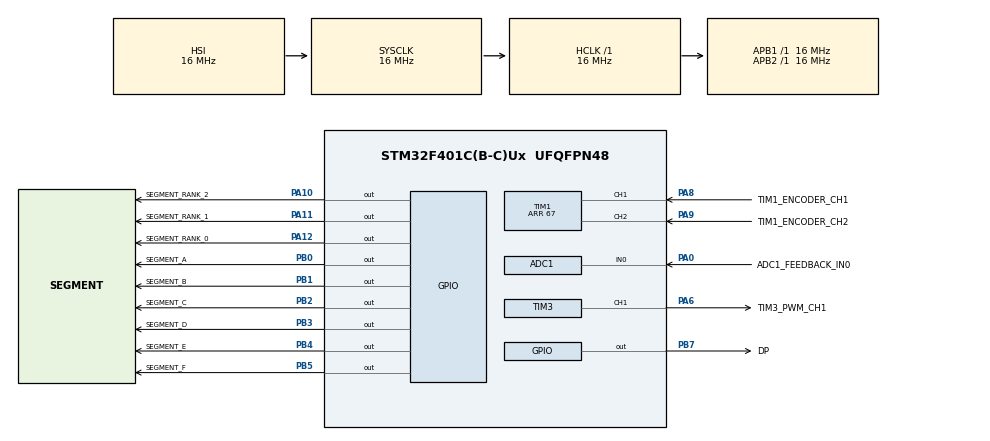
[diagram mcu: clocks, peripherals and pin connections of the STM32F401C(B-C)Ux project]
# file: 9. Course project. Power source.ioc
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ADC1.Channel-0\#ChannelRegularConversion=ADC_CHANNEL_0
ADC1.ExternalTrigConv=ADC_EXTERNALTRIGCONV_T3_TRGO
ADC1.NbrOfConversionFlag=1
ADC1.Rank-0\#ChannelRegularConversion=1
ADC1.SamplingTime-0\#ChannelRegularConversion=ADC_SAMPLETIME_3CYCLES
ADC1.master=1
Mcu.Family=STM32F4
Mcu.Name=STM32F401C(B-C)Ux
Mcu.Package=UFQFPN48
NVIC.ADC_IRQn=true\:1\:0\:true\:false\:true\:true\:true\:true
NVIC.PriorityGroup=NVIC_PRIORITYGROUP_4
NVIC.TIM4_IRQn=true\:0\:0\:false\:false\:true\:true\:true\:true
PA0-WKUP.GPIO_Label=ADC1_FEEDBACK_IN0
PA0-WKUP.Signal=ADCx_IN0
PA10.GPIO_Label=SEGMENT_RANK_2
PA10.Signal=GPIO_Output
PA11.GPIO_Label=SEGMENT_RANK_1
PA11.Signal=GPIO_Output
PA12.GPIO_Label=SEGMENT_RANK_0
PA12.Signal=GPIO_Output
PA13.Mode=Serial_Wire
PA13.Signal=SYS_JTMS-SWDIO
PA14.Mode=Serial_Wire
PA14.Signal=SYS_JTCK-SWCLK
PA6.GPIO_Label=TIM3_PWM_CH1
PA6.Signal=S_TIM3_CH1
PA8.GPIO_Label=TIM1_ENCODER_CH1
PA8.Signal=S_TIM1_CH1
PA9.GPIO_Label=TIM1_ENCODER_CH2
PA9.Signal=S_TIM1_CH2
PB0.GPIO_Label=SEGMENT_A
PB0.Signal=GPIO_Output
PB1.GPIO_Label=SEGMENT_B
PB1.Signal=GPIO_Output
PB2.GPIO_Label=SEGMENT_C
PB2.Signal=GPIO_Output
PB3.GPIO_Label=SEGMENT_D
PB3.Signal=GPIO_Output
PB4.GPIO_Label=SEGMENT_E
PB4.Signal=GPIO_Output
PB5.GPIO_Label=SEGMENT_F
PB5.Signal=GPIO_Output
PB7.GPIO_Label=DP
PB7.Signal=GPIO_Output
ProjectManager.HeapSize=0x200
ProjectManager.StackSize=0x400
ProjectManager.TargetToolchain=STM32CubeIDE
RCC.AHBFreq_Value=16000000
RCC.APB1Freq_Value=16000000
RCC.APB2Freq_Value=16000000
RCC.CortexFreq_Value=16000000
RCC.HSE_VALUE=25000000
RCC.HSI_VALUE=16000000
RCC.LSE_VALUE=32768
RCC.SYSCLKFreq_VALUE=16000000
RCC.VCOOutputFreq_Value=192000000
SH.ADCx_IN0.0=ADC1_IN0,IN0
SH.S_TIM1_CH1.0=TIM1_CH1,Encoder_Interface
SH.S_TIM1_CH2.0=TIM1_CH2,Encoder_Interface
SH.S_TIM3_CH1.0=TIM3_CH1,PWM Generation1 CH1
TIM1.Period=67
TIM3.Channel-PWM\ Generation1\ CH1=TIM_CHANNEL_1
TIM3.OCPolarity_1=TIM_OCPOLARITY_LOW
TIM3.Period=8000-1
TIM3.Prescaler=0
TIM3.TIM_MasterOutputTrigger=TIM_TRGO_UPDATE
TIM4.Period=1000-1
TIM4.Prescaler=16-1
VP_TIM3_VS_ClockSourceINT.Mode=Internal
VP_TIM4_VS_ClockSourceINT.Mode=Internal
board=custom

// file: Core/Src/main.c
/* USER CODE BEGIN Header */
/**
  ******************************************************************************
  * @file           : main.c
  * @brief          : Main program body
  ******************************************************************************
  * @attention
  *
  * Copyright (c) 2024 STMicroelectronics.
  * All rights reserved.
  *
  * This software is licensed under terms that can be found in the LICENSE file
  * in the root directory of this software component.
  * If no LICENSE file comes with this software, it is provided AS-IS.
  *
  ******************************************************************************
  */
/* USER CODE END Header */
#include "main.h"
#include "adc.h"
#include "tim.h"
#include "gpio.h"

/* USER CODE BEGIN Includes */

#include <math.h>
#include "segment_indicator.h"
#include "filter.h"
#include "PID_regulator.h"

/* USER CODE END Includes */

/* USER CODE BEGIN PD */

#define RANKS_N 3
#define DIGITS_N 10
#define SEGMENTS_GPIO_Port GPIOB
#define SEGMENT_PINS 0x00FF
#define MAX_ADC_VALUE 0xFFF
#define RANKS_GPIO_Port GPIOA

/* USER CODE END PD */

/* USER CODE BEGIN PV */

int target = 0;

segments_status_t segment = {0};
divided_num_t num_divided = {0};

/* USER CODE END PV */

void SystemClock_Config(void);

int main(void)
{

  /* MCU Configuration--------------------------------------------------------*/

  /* Reset of all peripherals, Initializes the Flash interface and the Systick. */
  HAL_Init();

  /* Configure the system clock */
  SystemClock_Config();

  /* Initialize all configured peripherals */
  MX_GPIO_Init();
  MX_ADC1_Init();
  MX_TIM1_Init();
  MX_TIM3_Init();
  MX_TIM4_Init();
  /* USER CODE BEGIN 2 */

  uint16_t RANKS[] ={
	GPIO_PIN_10,
	GPIO_PIN_11,
	GPIO_PIN_12
  };

  uint16_t DIGITS[] = {63, 6, 91, 79, 102, 109, 125, 7, 127, 111};

  uint16_t converted_digits[RANKS_N] = {0};

  segment.digits_port = SEGMENTS_GPIO_Port;
  segment.ranks_port = RANKS_GPIO_Port;

  segment.ranks_n = RANKS_N;
  segment.digits_n = DIGITS_N;

  segment.ranks_pins = RANKS;
  segment.digits_pins = DIGITS;
  segment.point_pin = 1 << 7;

  num_divided.cur_num = 0 - 1;
  num_divided.converted_digits = converted_digits;
  num_divided.ranks_n = RANKS_N;

  init_indicator(&segment);

  ADC1_Start_IT();
  TIM4_Base_Start_IT();
  TIM3_PWM_Start();
  TIM1_Encoder_Start();
  /* USER CODE END 2 */

  /* Infinite loop */
  /* USER CODE BEGIN WHILE */
  while (1)
  {

	static int prew_cnt = -1;
	if(TIM1->CNT != prew_cnt){
		target = (TIM1->CNT / 2 * 100 * MAX_ADC_VALUE) / 3300;
		prew_cnt = TIM1->CNT;
	}
	divide_num_f(round(ADC1_GetValue() * 33.0f / MAX_ADC_VALUE) / 10.0, 1, &num_divided, &segment);
    /* USER CODE END WHILE */

    /* USER CODE BEGIN 3 */
  }

  return 0;
  /* USER CODE END 3 */
}

void SystemClock_Config(void)
{
  RCC_OscInitTypeDef RCC_OscInitStruct = {0};
  RCC_ClkInitTypeDef RCC_ClkInitStruct = {0};

  /** Configure the main internal regulator output voltage
  */
  __HAL_RCC_PWR_CLK_ENABLE();
  __HAL_PWR_VOLTAGESCALING_CONFIG(PWR_REGULATOR_VOLTAGE_SCALE2);

  /** Initializes the RCC Oscillators according to the specified parameters
  * in the RCC_OscInitTypeDef structure.
  */
  RCC_OscInitStruct.OscillatorType = RCC_OSCILLATORTYPE_HSI;
  RCC_OscInitStruct.HSIState = RCC_HSI_ON;
  RCC_OscInitStruct.HSICalibrationValue = RCC_HSICALIBRATION_DEFAULT;
  RCC_OscInitStruct.PLL.PLLState = RCC_PLL_NONE;
  if (HAL_RCC_OscConfig(&RCC_OscInitStruct) != HAL_OK)
  {
    Error_Handler();
  }

  /** Initializes the CPU, AHB and APB buses clocks
  */
  RCC_ClkInitStruct.ClockType = RCC_CLOCKTYPE_HCLK|RCC_CLOCKTYPE_SYSCLK
                              |RCC_CLOCKTYPE_PCLK1|RCC_CLOCKTYPE_PCLK2;
  RCC_ClkInitStruct.SYSCLKSource = RCC_SYSCLKSOURCE_HSI;
  RCC_ClkInitStruct.AHBCLKDivider = RCC_SYSCLK_DIV1;
  RCC_ClkInitStruct.APB1CLKDivider = RCC_HCLK_DIV1;
  RCC_ClkInitStruct.APB2CLKDivider = RCC_HCLK_DIV1;

  if (HAL_RCC_ClockConfig(&RCC_ClkInitStruct, FLASH_LATENCY_0) != HAL_OK)
  {
    Error_Handler();
  }
}

/* USER CODE BEGIN 4 */

void HAL_TIM_PeriodElapsedCallback(TIM_HandleTypeDef *htim)
{
	static uint32_t rank = 0;

	display_digit(&segment, num_divided.converted_digits[rank],  rank);

	rank = (rank + 1) % num_divided.ranks_n;
}

void HAL_ADC_ConvCpltCallback(ADC_HandleTypeDef* hadc)
{
	static filter_stat_t filter_stat = {
      .k_l = 0.2f,
	  .curr = 0
	};

    static reg_stat_t regulator = {
      .prew_dif = 0,
      .int_part = 0,
      .kp = 0.040000f,
	  .ki = 0.000000f,
	  .kd = 0.000000f,
      .min = 0,
      .max = 0
	};

    regulator.max = TIM3->ARR + 1;
    regulator.prd = TIM3->ARR + 1;

	uint32_t input =  ADC1_GetValue();

	int filtered = filter(&filter_stat, input);

	TIM3->CCR1 = PID_regulation(&regulator, target, filtered, TIM3->CCR1);
}

/* USER CODE END 4 */

void Error_Handler(void)
{
  __disable_irq();
  while (1)
  {
  }
}
